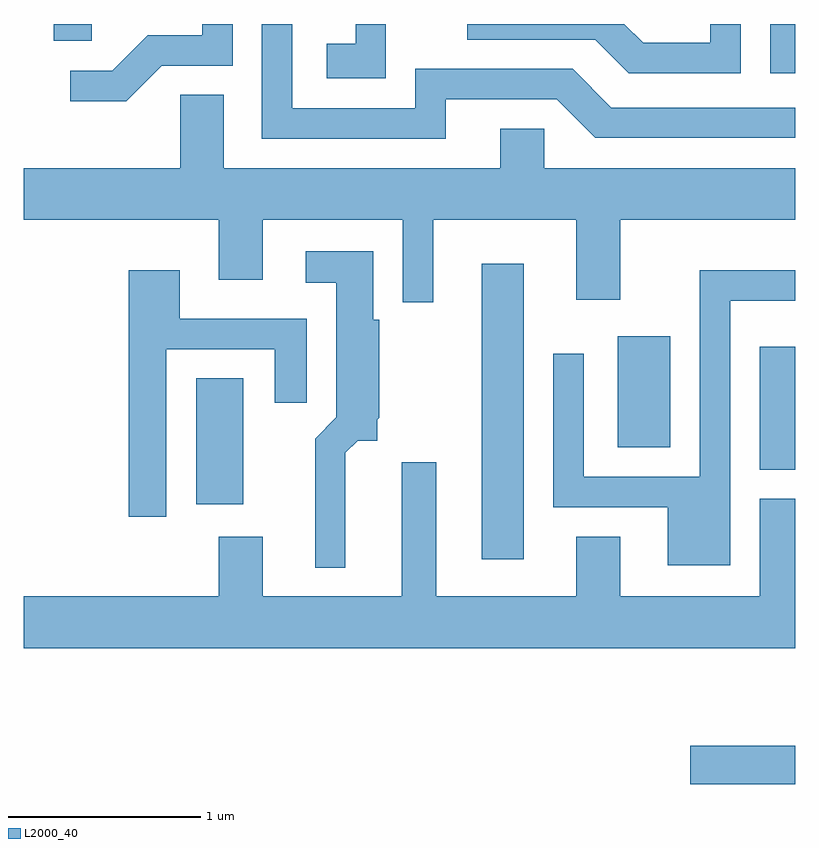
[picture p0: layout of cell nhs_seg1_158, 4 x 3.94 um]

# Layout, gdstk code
import gdstk
lib = gdstk.Library(unit=1e-6, precision=1e-09)
def R(c, l, rs):  # rectangles x0, y0, x1, y1
    for r in rs: c.add(gdstk.rectangle(r[:2], r[2:], *l))
def P(c, l, *ps):  # polygons
    for p in ps: c.add(gdstk.Polygon(p, *l))
L2000_40 = (2000, 40)

nhs_seg1_158 = lib.new_cell('nhs_seg1_158')
R(nhs_seg1_158, L2000_40, [(193.066,887.771,193.611,887.969), (191.986,888.936,192.204,890.469), (190.506,889.221,190.749,889.874), (193.426,889.401,193.611,890.039), (192.691,889.516,192.964,890.094), (193.481,891.456,193.611,891.712), (189.766,891.626,189.964,891.712)])
P(nhs_seg1_158, L2000_40, [(190.327,891.496),(190.694,891.496),(190.694,891.712),(190.536,891.712),(190.536,891.654),(190.254,891.654),(190.069,891.469),(189.853,891.469),(189.853,891.311),(190.142,891.311)],
  [(191.489,891.712),(191.331,891.712),(191.331,891.609),(191.181,891.609),(191.181,891.431),(191.489,891.431)],
  [(191.799,891.321),(192.374,891.321),(192.574,891.121),(193.611,891.121),(193.611,891.279),(192.657,891.279),(192.457,891.479),(191.641,891.479),(191.641,891.274),(191.004,891.274),(191.004,891.712),(190.846,891.712),(190.846,891.116),(191.799,891.116)],
  [(193.329,891.712),(193.171,891.712),(193.171,891.614),(192.822,891.614),(192.724,891.712),(191.911,891.712),(191.911,891.631),(192.574,891.631),(192.749,891.456),(193.329,891.456)],
  [(191.734,890.696),(192.476,890.696),(192.476,890.281),(192.704,890.281),(192.704,890.696),(193.611,890.696),(193.611,890.964),(192.309,890.964),(192.309,891.169),(192.081,891.169),(192.081,890.964),(190.649,890.964),(190.649,891.344),(190.421,891.344),(190.421,890.964),(189.611,890.964),(189.611,890.696),(190.621,890.696),(190.621,890.386),(190.849,890.386),(190.849,890.696),(191.576,890.696),(191.576,890.268),(191.734,890.268)],
  [(191.279,889.489),(191.342,889.551),(191.444,889.551),(191.444,889.659),(191.454,889.669),(191.454,890.179),(191.424,890.179),(191.424,890.534),(191.073,890.534),(191.073,890.371),(191.231,890.371),(191.231,889.672),(191.121,889.562),(191.121,888.893),(191.279,888.893)],
  [(190.349,890.026),(190.911,890.026),(190.911,889.748),(191.079,889.748),(191.079,890.184),(190.419,890.184),(190.419,890.434),(190.156,890.434),(190.156,889.156),(190.349,889.156)],
  [(193.274,890.276),(193.611,890.276),(193.611,890.434),(193.116,890.434),(193.116,889.364),(192.514,889.364),(192.514,890.003),(192.356,890.003),(192.356,889.206),(192.951,889.206),(192.951,888.906),(193.274,888.906)],
  [(193.611,889.249),(193.426,889.249),(193.426,888.744),(192.704,888.744),(192.704,889.054),(192.476,889.054),(192.476,888.744),(191.749,888.744),(191.749,889.439),(191.571,889.439),(191.571,888.744),(190.849,888.744),(190.849,889.054),(190.621,889.054),(190.621,888.744),(189.611,888.744),(189.611,888.476),(193.611,888.476)])

lib.write_gds('nhs_seg1_158.gds')
